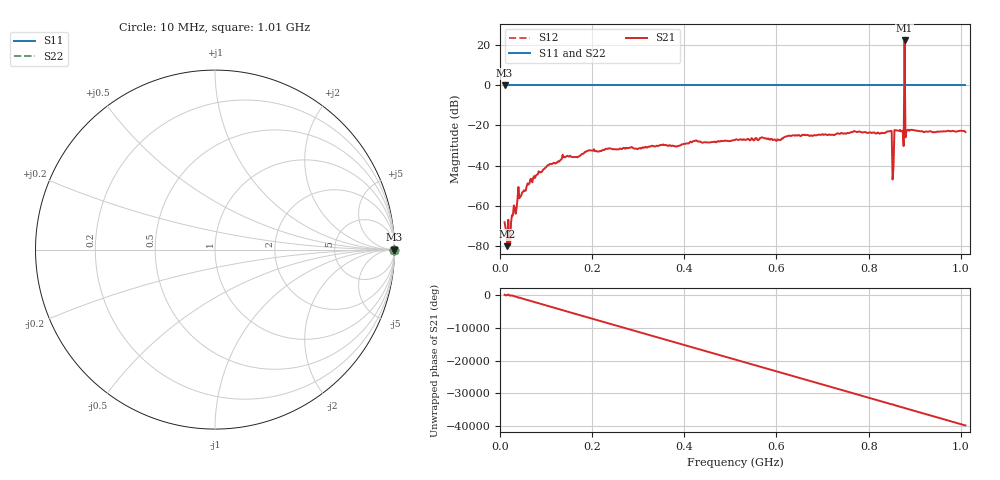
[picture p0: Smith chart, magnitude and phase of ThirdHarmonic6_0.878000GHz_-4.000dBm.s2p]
! 8/16/2025 4:55:52 AM
! C:\ANRITSUVNA\TEMP\TEMP.S2P
! CHANNEL.1
! TR.MEASUREMENT
! RAW.DATA
! RF.CORRECTION.OFF
! AVERAGING.OFF
! IF.BANDWIDTH: 5KHZ
! SWEEPTYPE:  FREQ.SWEEP(Linear)
! Reference Plane Port Info
! PORT:  PORT1  PORT2
! DISTANCE:  0  m  0  m
! TIME:  0  s  0  s
! PHASE.OFFSET:  0  deg.  0  deg.
! LOSS:  0  dB  0  dB
! REF.LOSS:  0  dB  0  dB
! REF.FREQ:  0  Hz  0  Hz
! Power Info
! POWER:  -20  dBm  -20  dBm
! EFF.POWER:  -20  dBm  -20  dBm
! SOURCE.ATTEN:  0  dB  0  dB
! TEST.ATTEN:  0  dB  0  dB
# GHZ S RI R 50.0
! FREQ.GHZ  S11RE  S11IM  S21RE  S21IM  S12RE  S12IM  S22RE  S22IM
!; PortSelection: Port_12
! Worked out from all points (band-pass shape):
!   501 points, 10 MHz to 1.01 GHz, reference 50 ohm
!   highest |S21| = 22.32 dB at 878 MHz (marker M1); lowest = -80.1 dB at 16 MHz (marker M2)
!   |S21| within 3 dB of the highest: 877.8858 MHz to 878.1243 MHz (238.5 kHz wide, 0.0272 % of centre)
!   lowest |S11| = 0.0 dB at 10 MHz (marker M3)
!   |S11| at or under -10 dB: nowhere
!   |S22| runs from 0.0 to 0.0 dB; largest |S21 - S12| = 14
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0.01  1 0  -0.000212 0.000327  1 0  1 0
0.016  1 0  3.02e-05 9.45e-05  1 0  1 0
0.02  1 0  0.000101 6.2e-06  1 0  1 0
0.028  1 0  -0.000578 3.28e-05  1 0  1 0
0.042  1 0  0.00125 -0.0009  1 0  1 0
0.064  1 0  -0.00288 0.00221  1 0  1 0
0.14  1 0  0.00424 -0.0158  1 0  1 0
0.178  1 0  -0.0189 -0.00507  1 0  1 0
0.344  1 0  0.0304 -0.00493  1 0  1 0
0.51  1 0  -0.042 0.0115  1 0  1 0
0.678  1 0  -0.0192 -0.0511  1 0  1 0
0.844  1 0  0.0435 0.0571  1 0  1 0
0.846  1 0  0.063 -0.0339  1 0  1 0
0.85  1 0  -0.072 0.0114  1 0  1 0
0.856  1 0  0.0186 -0.0751  1 0  1 0
0.86  1 0  -0.0422 0.0629  1 0  1 0
0.872  1 0  0.0728 0.00233  1 0  1 0
0.874  1 0  0.0165 -0.0729  1 0  1 0
0.878  1 0  -9.806 8.63  1 0  1 0
0.882  1 0  0.0538 -0.0492  1 0  1 0
0.884  1 0  -0.0395 -0.0654  1 0  1 0
1.01  1 0  -0.0636 -0.0259  1 0  1 0
